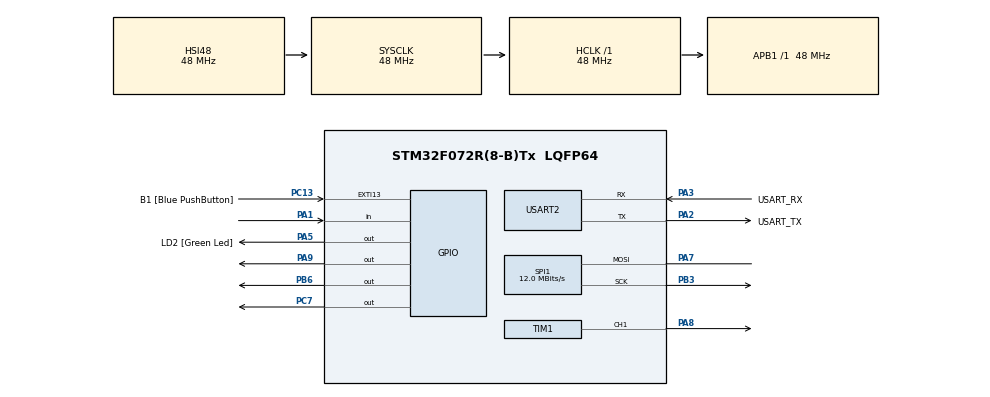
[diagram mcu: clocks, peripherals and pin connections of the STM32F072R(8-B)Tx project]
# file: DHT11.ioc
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Mcu.Family=STM32F0
Mcu.Name=STM32F072R(8-B)Tx
Mcu.Package=LQFP64
PA1.Signal=GPIO_Input
PA13.GPIO_Label=TMS
PA13.Mode=Serial_Wire
PA13.Signal=SYS_SWDIO
PA14.GPIO_Label=TCK
PA14.Mode=Serial_Wire
PA14.Signal=SYS_SWCLK
PA2.GPIO_Label=USART_TX
PA2.GPIO_Mode=GPIO_MODE_AF_PP
PA2.GPIO_PuPd=GPIO_NOPULL
PA2.GPIO_Speed=GPIO_SPEED_FREQ_LOW
PA2.Mode=Asynchronous
PA2.Signal=USART2_TX
PA3.GPIO_Label=USART_RX
PA3.GPIO_Mode=GPIO_MODE_AF_PP
PA3.GPIO_PuPd=GPIO_NOPULL
PA3.GPIO_Speed=GPIO_SPEED_FREQ_LOW
PA3.Mode=Asynchronous
PA3.Signal=USART2_RX
PA5.GPIO_Label=LD2 [Green Led]
PA5.GPIO_Mode=GPIO_MODE_OUTPUT_PP
PA5.GPIO_PuPd=GPIO_NOPULL
PA5.GPIO_Speed=GPIO_SPEED_FREQ_LOW
PA5.Signal=GPIO_Output
PA7.Mode=Simplex_Bidirectional_Master
PA7.Signal=SPI1_MOSI
PA8.Signal=S_TIM1_CH1
PA9.Signal=GPIO_Output
PB3.Mode=Simplex_Bidirectional_Master
PB3.Signal=SPI1_SCK
PB6.Signal=GPIO_Output
PC13.GPIO_Label=B1 [Blue PushButton]
PC13.GPIO_ModeDefaultEXTI=GPIO_MODE_IT_FALLING
PC13.Signal=GPXTI13
PC14-OSC32_IN.Mode=LSE-External-Oscillator
PC14-OSC32_IN.Signal=RCC_OSC32_IN
PC15-OSC32_OUT.Mode=LSE-External-Oscillator
PC15-OSC32_OUT.Signal=RCC_OSC32_OUT
PC7.Signal=GPIO_Output
PF0-OSC_IN.Mode=HSE-External-Clock-Source
PF0-OSC_IN.Signal=RCC_OSC_IN
PF1-OSC_OUT.Signal=RCC_OSC_OUT
ProjectManager.HeapSize=0x200
ProjectManager.StackSize=0x400
ProjectManager.TargetToolchain=STM32CubeIDE
RCC.AHBFreq_Value=48000000
RCC.APB1Freq_Value=48000000
RCC.APB1TimFreq_Value=48000000
RCC.FLatency-AdvancedSettings=FLASH_LATENCY_1
RCC.HCLKFreq_Value=48000000
RCC.PLLDivider=RCC_PREDIV_DIV2
RCC.PLLMUL=RCC_PLL_MUL12
RCC.PREFETCH_ENABLE-AdvancedSettings=1
RCC.SYSCLKFreq_VALUE=48000000
RCC.SYSCLKSource=RCC_SYSCLKSOURCE_HSI48
SH.S_TIM1_CH1.0=TIM1_CH1,PWM Generation1 CH1
SPI1.BaudRatePrescaler=SPI_BAUDRATEPRESCALER_4
SPI1.CalculateBaudRate=12.0 MBits/s
SPI1.DataSize=SPI_DATASIZE_8BIT
SPI1.Direction=SPI_DIRECTION_1LINE
SPI1.Mode=SPI_MODE_MASTER
SPI1.VirtualType=VM_MASTER
TIM1.Channel-PWM\ Generation1\ CH1=TIM_CHANNEL_1
TIM1.Period=0xffff-1
TIM1.Prescaler=50-1
USART2.VirtualMode=VM_ASYNC
USART2.VirtualMode-Asynchronous=VM_ASYNC
VP_TIM1_VS_ClockSourceINT.Mode=Internal
VP_TIM6_VS_ClockSourceINT.Mode=Enable_Timer
board=NUCLEO-F072RB

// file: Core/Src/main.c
/* USER CODE BEGIN Header */
/**
  ******************************************************************************
  * @file           : main.c
  * @brief          : Main program body
  ******************************************************************************
  * @attention
  *
  * Copyright (c) 2024 STMicroelectronics.
  * All rights reserved.
  *
  * This software is licensed under terms that can be found in the LICENSE file
  * in the root directory of this software component.
  * If no LICENSE file comes with this software, it is provided AS-IS.
  *
  ******************************************************************************
  */
/* USER CODE END Header */
#include "main.h"
#include "ST7735.h"
#include "DHT11.h"

SPI_HandleTypeDef hspi1;

TIM_HandleTypeDef htim1;
TIM_HandleTypeDef htim6;

UART_HandleTypeDef huart2;

void SystemClock_Config(void);
static void MX_GPIO_Init(void);
static void MX_USART2_UART_Init(void);
static void MX_SPI1_Init(void);
static void MX_TIM6_Init(void);
static void MX_TIM1_Init(void);
/* USER CODE BEGIN PFP */
void LCD_Init();

void LCD_Control_Temp(int8_t Temp);
void LCD_Control_Hum(uint8_t Hum);
void LCD_Control_Fan(uint8_t Fan);

void PWM_Control(uint16_t Temperature);

void LCD_Value_update();
/* USER CODE END PFP */

int main(void)
{

  /* MCU Configuration--------------------------------------------------------*/

  /* Reset of all peripherals, Initializes the Flash interface and the Systick. */
  HAL_Init();

  /* Configure the system clock */
  SystemClock_Config();

  /* Initialize all configured peripherals */
  MX_GPIO_Init();
  MX_USART2_UART_Init();
  MX_SPI1_Init();
  MX_TIM6_Init();
  MX_TIM1_Init();
  /* USER CODE BEGIN 2 */
  ST7735_Init(1);
  LCD_Init();
  HAL_Delay(1000);
  HAL_TIM_PWM_Start(&htim1,TIM_CHANNEL_1);
  DHT11_Start ();
  /* USER CODE END 2 */
  /* Infinite loop */
  while (1)
  {
	  LCD_Value_update();
  }
}

void SystemClock_Config(void)
{
  RCC_OscInitTypeDef RCC_OscInitStruct = {0};
  RCC_ClkInitTypeDef RCC_ClkInitStruct = {0};
  RCC_PeriphCLKInitTypeDef PeriphClkInit = {0};

  /** Initializes the RCC Oscillators according to the specified parameters
  * in the RCC_OscInitTypeDef structure.
  */
  RCC_OscInitStruct.OscillatorType = RCC_OSCILLATORTYPE_HSI48;
  RCC_OscInitStruct.HSI48State = RCC_HSI48_ON;
  RCC_OscInitStruct.PLL.PLLState = RCC_PLL_NONE;
  if (HAL_RCC_OscConfig(&RCC_OscInitStruct) != HAL_OK)
  {
    Error_Handler();
  }

  /** Initializes the CPU, AHB and APB buses clocks
  */
  RCC_ClkInitStruct.ClockType = RCC_CLOCKTYPE_HCLK|RCC_CLOCKTYPE_SYSCLK
                              |RCC_CLOCKTYPE_PCLK1;
  RCC_ClkInitStruct.SYSCLKSource = RCC_SYSCLKSOURCE_HSI48;
  RCC_ClkInitStruct.AHBCLKDivider = RCC_SYSCLK_DIV1;
  RCC_ClkInitStruct.APB1CLKDivider = RCC_HCLK_DIV1;

  if (HAL_RCC_ClockConfig(&RCC_ClkInitStruct, FLASH_LATENCY_1) != HAL_OK)
  {
    Error_Handler();
  }
  PeriphClkInit.PeriphClockSelection = RCC_PERIPHCLK_USART2;
  PeriphClkInit.Usart2ClockSelection = RCC_USART2CLKSOURCE_PCLK1;
  if (HAL_RCCEx_PeriphCLKConfig(&PeriphClkInit) != HAL_OK)
  {
    Error_Handler();
  }
}

static void MX_SPI1_Init(void)
{

  /* SPI1 parameter configuration*/
  hspi1.Instance = SPI1;
  hspi1.Init.Mode = SPI_MODE_MASTER;
  hspi1.Init.Direction = SPI_DIRECTION_1LINE;
  hspi1.Init.DataSize = SPI_DATASIZE_8BIT;
  hspi1.Init.CLKPolarity = SPI_POLARITY_LOW;
  hspi1.Init.CLKPhase = SPI_PHASE_1EDGE;
  hspi1.Init.NSS = SPI_NSS_SOFT;
  hspi1.Init.BaudRatePrescaler = SPI_BAUDRATEPRESCALER_4;
  hspi1.Init.FirstBit = SPI_FIRSTBIT_MSB;
  hspi1.Init.TIMode = SPI_TIMODE_DISABLE;
  hspi1.Init.CRCCalculation = SPI_CRCCALCULATION_DISABLE;
  hspi1.Init.CRCPolynomial = 7;
  hspi1.Init.CRCLength = SPI_CRC_LENGTH_DATASIZE;
  hspi1.Init.NSSPMode = SPI_NSS_PULSE_ENABLE;
  if (HAL_SPI_Init(&hspi1) != HAL_OK)
  {
    Error_Handler();
  }

}

static void MX_TIM1_Init(void)
{

  TIM_ClockConfigTypeDef sClockSourceConfig = {0};
  TIM_MasterConfigTypeDef sMasterConfig = {0};
  TIM_OC_InitTypeDef sConfigOC = {0};
  TIM_BreakDeadTimeConfigTypeDef sBreakDeadTimeConfig = {0};

  htim1.Instance = TIM1;
  htim1.Init.Prescaler = 50-1;
  htim1.Init.CounterMode = TIM_COUNTERMODE_UP;
  htim1.Init.Period = 0xffff-1;
  htim1.Init.ClockDivision = TIM_CLOCKDIVISION_DIV1;
  htim1.Init.RepetitionCounter = 0;
  htim1.Init.AutoReloadPreload = TIM_AUTORELOAD_PRELOAD_DISABLE;
  if (HAL_TIM_Base_Init(&htim1) != HAL_OK)
  {
    Error_Handler();
  }
  sClockSourceConfig.ClockSource = TIM_CLOCKSOURCE_INTERNAL;
  if (HAL_TIM_ConfigClockSource(&htim1, &sClockSourceConfig) != HAL_OK)
  {
    Error_Handler();
  }
  if (HAL_TIM_PWM_Init(&htim1) != HAL_OK)
  {
    Error_Handler();
  }
  sMasterConfig.MasterOutputTrigger = TIM_TRGO_RESET;
  sMasterConfig.MasterSlaveMode = TIM_MASTERSLAVEMODE_DISABLE;
  if (HAL_TIMEx_MasterConfigSynchronization(&htim1, &sMasterConfig) != HAL_OK)
  {
    Error_Handler();
  }
  sConfigOC.OCMode = TIM_OCMODE_PWM1;
  sConfigOC.Pulse = 0;
  sConfigOC.OCPolarity = TIM_OCPOLARITY_HIGH;
  sConfigOC.OCNPolarity = TIM_OCNPOLARITY_HIGH;
  sConfigOC.OCFastMode = TIM_OCFAST_DISABLE;
  sConfigOC.OCIdleState = TIM_OCIDLESTATE_RESET;
  sConfigOC.OCNIdleState = TIM_OCNIDLESTATE_RESET;
  if (HAL_TIM_PWM_ConfigChannel(&htim1, &sConfigOC, TIM_CHANNEL_1) != HAL_OK)
  {
    Error_Handler();
  }
  sBreakDeadTimeConfig.OffStateRunMode = TIM_OSSR_DISABLE;
  sBreakDeadTimeConfig.OffStateIDLEMode = TIM_OSSI_DISABLE;
  sBreakDeadTimeConfig.LockLevel = TIM_LOCKLEVEL_OFF;
  sBreakDeadTimeConfig.DeadTime = 0;
  sBreakDeadTimeConfig.BreakState = TIM_BREAK_DISABLE;
  sBreakDeadTimeConfig.BreakPolarity = TIM_BREAKPOLARITY_HIGH;
  sBreakDeadTimeConfig.AutomaticOutput = TIM_AUTOMATICOUTPUT_DISABLE;
  if (HAL_TIMEx_ConfigBreakDeadTime(&htim1, &sBreakDeadTimeConfig) != HAL_OK)
  {
    Error_Handler();
  }
  HAL_TIM_MspPostInit(&htim1);

}

static void MX_TIM6_Init(void)
{

  TIM_MasterConfigTypeDef sMasterConfig = {0};

  htim6.Instance = TIM6;
  htim6.Init.Prescaler = 0;
  htim6.Init.CounterMode = TIM_COUNTERMODE_UP;
  htim6.Init.Period = 65535;
  htim6.Init.AutoReloadPreload = TIM_AUTORELOAD_PRELOAD_DISABLE;
  if (HAL_TIM_Base_Init(&htim6) != HAL_OK)
  {
    Error_Handler();
  }
  sMasterConfig.MasterOutputTrigger = TIM_TRGO_RESET;
  sMasterConfig.MasterSlaveMode = TIM_MASTERSLAVEMODE_DISABLE;
  if (HAL_TIMEx_MasterConfigSynchronization(&htim6, &sMasterConfig) != HAL_OK)
  {
    Error_Handler();
  }

}

static void MX_USART2_UART_Init(void)
{

  huart2.Instance = USART2;
  huart2.Init.BaudRate = 38400;
  huart2.Init.WordLength = UART_WORDLENGTH_8B;
  huart2.Init.StopBits = UART_STOPBITS_1;
  huart2.Init.Parity = UART_PARITY_NONE;
  huart2.Init.Mode = UART_MODE_TX_RX;
  huart2.Init.HwFlowCtl = UART_HWCONTROL_NONE;
  huart2.Init.OverSampling = UART_OVERSAMPLING_16;
  huart2.Init.OneBitSampling = UART_ONE_BIT_SAMPLE_DISABLE;
  huart2.AdvancedInit.AdvFeatureInit = UART_ADVFEATURE_NO_INIT;
  if (HAL_UART_Init(&huart2) != HAL_OK)
  {
    Error_Handler();
  }

}

static void MX_GPIO_Init(void)
{
  GPIO_InitTypeDef GPIO_InitStruct = {0};

  /* GPIO Ports Clock Enable */
  __HAL_RCC_GPIOC_CLK_ENABLE();
  __HAL_RCC_GPIOF_CLK_ENABLE();
  __HAL_RCC_GPIOA_CLK_ENABLE();
  __HAL_RCC_GPIOB_CLK_ENABLE();

  /*Configure GPIO pin Output Level */
  HAL_GPIO_WritePin(GPIOA, LD2_Pin|GPIO_PIN_9, GPIO_PIN_RESET);

  /*Configure GPIO pin Output Level */
  HAL_GPIO_WritePin(GPIOC, GPIO_PIN_7, GPIO_PIN_RESET);

  /*Configure GPIO pin Output Level */
  HAL_GPIO_WritePin(GPIOB, GPIO_PIN_6, GPIO_PIN_RESET);

  /*Configure GPIO pin : B1_Pin */
  GPIO_InitStruct.Pin = B1_Pin;
  GPIO_InitStruct.Mode = GPIO_MODE_IT_FALLING;
  GPIO_InitStruct.Pull = GPIO_NOPULL;
  HAL_GPIO_Init(B1_GPIO_Port, &GPIO_InitStruct);

  /*Configure GPIO pin : PA1 */
  GPIO_InitStruct.Pin = GPIO_PIN_1;
  GPIO_InitStruct.Mode = GPIO_MODE_INPUT;
  GPIO_InitStruct.Pull = GPIO_NOPULL;
  HAL_GPIO_Init(GPIOA, &GPIO_InitStruct);

  /*Configure GPIO pins : LD2_Pin PA9 */
  GPIO_InitStruct.Pin = LD2_Pin|GPIO_PIN_9;
  GPIO_InitStruct.Mode = GPIO_MODE_OUTPUT_PP;
  GPIO_InitStruct.Pull = GPIO_NOPULL;
  GPIO_InitStruct.Speed = GPIO_SPEED_FREQ_LOW;
  HAL_GPIO_Init(GPIOA, &GPIO_InitStruct);

  /*Configure GPIO pin : PC7 */
  GPIO_InitStruct.Pin = GPIO_PIN_7;
  GPIO_InitStruct.Mode = GPIO_MODE_OUTPUT_PP;
  GPIO_InitStruct.Pull = GPIO_NOPULL;
  GPIO_InitStruct.Speed = GPIO_SPEED_FREQ_LOW;
  HAL_GPIO_Init(GPIOC, &GPIO_InitStruct);

  /*Configure GPIO pin : PB6 */
  GPIO_InitStruct.Pin = GPIO_PIN_6;
  GPIO_InitStruct.Mode = GPIO_MODE_OUTPUT_PP;
  GPIO_InitStruct.Pull = GPIO_NOPULL;
  GPIO_InitStruct.Speed = GPIO_SPEED_FREQ_LOW;
  HAL_GPIO_Init(GPIOB, &GPIO_InitStruct);

}

/* USER CODE BEGIN 4 */
void LCD_Init(){
	  fillScreen(WHITE);
	  ST7735_WriteString(5, 5, "Temp: ", Font_16x26,BLACK,WHITE);
	  ST7735_WriteString(5, 35, "Hum :% ", Font_16x26,BLACK,WHITE);
	  ST7735_WriteString(5, 65, "Fan :% ", Font_16x26,BLACK,WHITE);
}

void LCD_Control_Temp(int8_t Temp){
	  char str[4];
	  sprintf(str, "%d", Temp);
	  ST7735_WriteString(85, 5, str , Font_16x26,BLACK,WHITE);
}
void LCD_Control_Hum(uint8_t Hum){
	  char str[4];
	  sprintf(str, "%d", Hum);
	  ST7735_WriteString(105, 35, str , Font_16x26,BLACK,WHITE);
}
void LCD_Control_Fan(uint8_t Fan){
	  char str[4];
	  sprintf(str, "%d", Fan);
	  ST7735_WriteString(105, 65, str , Font_16x26,BLACK,WHITE);
}

void PWM_Control(uint16_t Temperature){
	uint32_t Speed = 65534;
	if(Temperature>=20){
		Speed = Speed /35*Temperature ;
		if(Speed >= 65534){Speed = 65534;}
	}else{
		Speed = 0;
	}
	uint8_t Lcd_Speed = Speed/653;
	__HAL_TIM_SetCompare(&htim1,TIM_CHANNEL_1 ,Speed);
	LCD_Control_Fan((uint8_t)(Lcd_Speed));
}

void LCD_Value_update(){
	 uint8_t Rh_byte1, Rh_byte2, Temp_byte1, Temp_byte2;
	 uint16_t SUM, RH, TEMP;
	 float Temperature = 0;
	 float Humidity = 0;
	 uint8_t Presence = 1;
	 DHT11_Start();
	 Presence = Check_Response();
	 Rh_byte1 = DHT11_Read ();
	 Rh_byte2 = DHT11_Read ();
     Temp_byte1 = DHT11_Read ();
	 Temp_byte2 = DHT11_Read ();
	 SUM = DHT11_Read();
	 TEMP = Temp_byte1;
	 RH = Rh_byte1;
	 Temperature = (int8_t) TEMP;
	 Humidity = (int8_t) RH;
	 LCD_Control_Temp(Temperature);
	 LCD_Control_Hum(Humidity);
	 PWM_Control(Temperature);
}
/* USER CODE END 4 */

void Error_Handler(void)
{
  __disable_irq();
  while (1)
  {
  }
}
